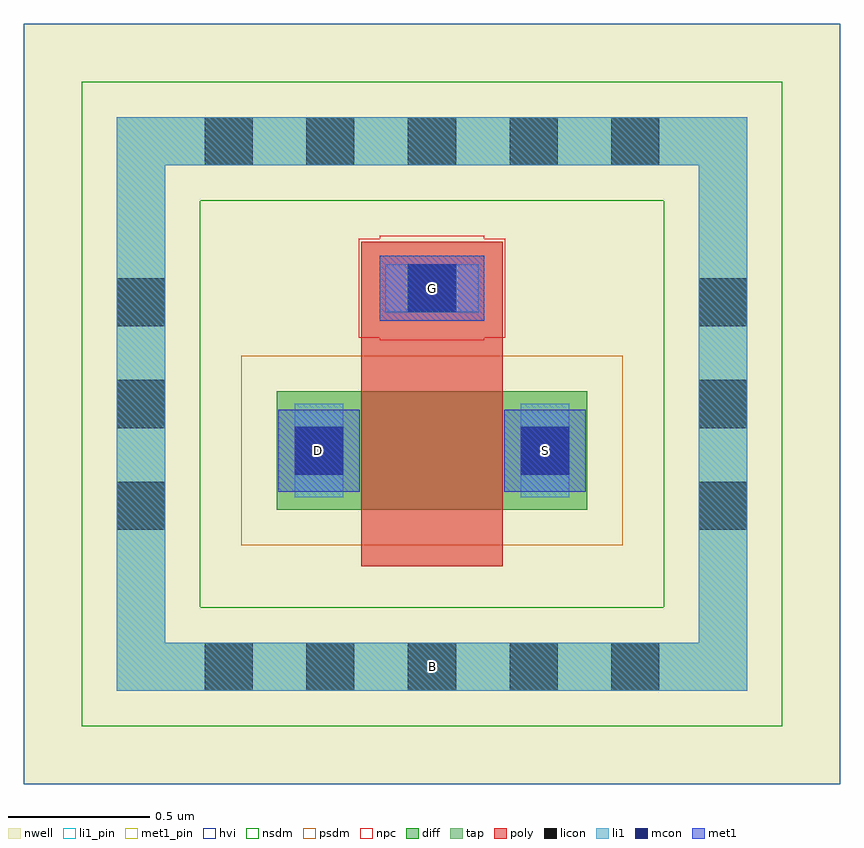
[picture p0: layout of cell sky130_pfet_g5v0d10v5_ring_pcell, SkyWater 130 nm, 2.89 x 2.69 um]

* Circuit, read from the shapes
.subckt sky130_pfet_g5v0d10v5_ring_pcell B D G S
XM1 S G D B sky130_fd_pr__pfet_g5v0d10v5 w=0.42 l=0.5
.ends

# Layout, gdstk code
import gdstk
lib = gdstk.Library(unit=1e-6, precision=1e-09)
def R(c, l, rs):  # rectangles x0, y0, x1, y1
    for r in rs: c.add(gdstk.rectangle(r[:2], r[2:], *l))
def A(c, l, x, y, w, h, nx, ny, dx, dy):  # array of equal rectangles
    R(c, l, [(x+i*dx, y+j*dy, x+i*dx+w, y+j*dy+h) for i in range(nx) for j in range(ny)])
def P(c, l, *ps):  # polygons
    for p in ps: c.add(gdstk.Polygon(p, *l))
nwell = (64, 20)
diff = (65, 20)
tap = (65, 44)
poly = (66, 20)
licon = (66, 44)
li1_pin = (67, 16)
li1 = (67, 20)
mcon = (67, 44)
met1_pin = (68, 16)
met1 = (68, 20)
hvi = (75, 20)
nsdm = (93, 44)
psdm = (94, 20)
npc = (95, 20)

pfet = lib.new_cell('pfet')
R(pfet, nwell, [(-0.465,-0.54,1.565,1.3)])
R(pfet, diff, [(0,0,1.1,0.42)])
R(pfet, poly, [(0.3,-0.2,0.8,0.62), (0.3,0.62,0.8,0.95)])
R(pfet, licon, [(0.065,0.125,0.235,0.295), (0.865,0.125,1.035,0.295), (0.465,0.7,0.635,0.87)])
R(pfet, li1, [(0.065,0.045,0.235,0.375), (0.865,0.045,1.035,0.375), (0.385,0.7,0.715,0.87)])
R(pfet, mcon, [(0.065,0.125,0.235,0.295), (0.865,0.125,1.035,0.295), (0.465,0.7,0.635,0.87)])
R(pfet, met1, [(0.005,0.065,0.295,0.355), (0.805,0.065,1.095,0.355), (0.365,0.67,0.735,0.9)])
R(pfet, hvi, [(-0.465,-0.54,1.565,1.3)])
R(pfet, psdm, [(-0.125,-0.125,1.225,0.545)])
R(pfet, npc, [(0.29,0.61,0.81,0.96)])

guard_ring_gen = lib.new_cell('guard_ring_gen')
P(guard_ring_gen, tap, [(-0.17,-0.17),(-0.17,1.69),(0,1.69),(0,0),(1.89,0),(1.89,1.69),(-0.17,1.69),(-0.17,1.86),(2.06,1.86),(2.06,-0.17)])
A(guard_ring_gen, licon, 0.14, -0.17, 0.17, 0.17, 5, 2, 0.36, 1.86)
A(guard_ring_gen, licon, -0.17, 0.4, 0.17, 0.17, 1, 3, 0, 0.36)
A(guard_ring_gen, licon, 1.89, 0.4, 0.17, 0.17, 1, 3, 0, 0.36)
P(guard_ring_gen, li1, [(-0.17,-0.17),(-0.17,1.69),(0,1.69),(0,0),(1.89,0),(1.89,1.69),(-0.17,1.69),(-0.17,1.86),(2.06,1.86),(2.06,-0.17)])
P(guard_ring_gen, nsdm, [(-0.295,-0.295),(-0.295,1.565),(0.125,1.565),(0.125,0.125),(1.765,0.125),(1.765,1.565),(-0.295,1.565),(-0.295,1.985),(2.185,1.985),(2.185,-0.295)])

sky130_pfet_g5v0d10v5_ri = lib.new_cell('sky130_pfet_g5v0d10v5_ring_pcell')
R(sky130_pfet_g5v0d10v5_ri, nwell, [(-0.895,-0.97,1.995,1.72)])
R(sky130_pfet_g5v0d10v5_ri, li1_pin, [(0.465,-0.64,0.635,-0.47)])
R(sky130_pfet_g5v0d10v5_ri, met1_pin, [(0.065,0.125,0.235,0.295), (0.865,0.125,1.035,0.295), (0.465,0.7,0.635,0.87)])
R(sky130_pfet_g5v0d10v5_ri, hvi, [(-0.895,-0.97,1.995,1.72)])
R(sky130_pfet_g5v0d10v5_ri, npc, [(0.365,0.6,0.735,0.97)])
sky130_pfet_g5v0d10v5_ri.add(gdstk.Reference(pfet, (0,0)))
sky130_pfet_g5v0d10v5_ri.add(gdstk.Reference(guard_ring_gen, (-0.395,-0.47)))
sky130_pfet_g5v0d10v5_ri.add(gdstk.Label('D', (0.15,0.21), layer=68, texttype=5))
sky130_pfet_g5v0d10v5_ri.add(gdstk.Label('S', (0.95,0.21), layer=68, texttype=5))
sky130_pfet_g5v0d10v5_ri.add(gdstk.Label('G', (0.55,0.785), layer=68, texttype=5))
sky130_pfet_g5v0d10v5_ri.add(gdstk.Label('B', (0.55,-0.555), layer=67, texttype=5))

lib.write_gds('sky130_pfet_g5v0d10v5_ring_pcell.gds')
